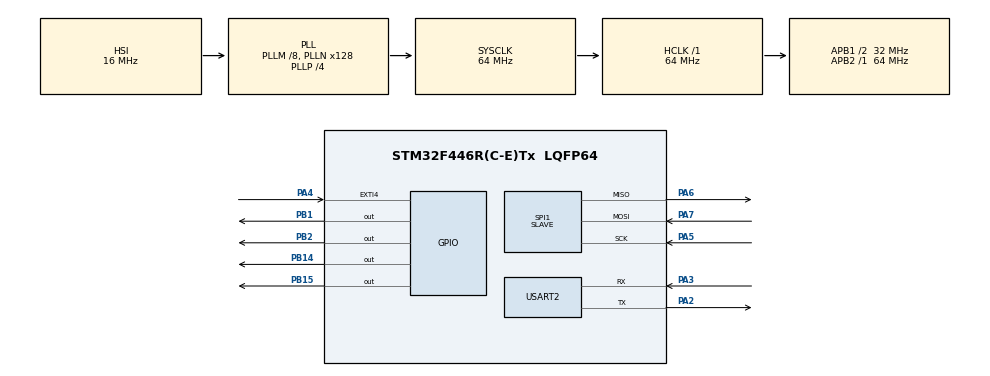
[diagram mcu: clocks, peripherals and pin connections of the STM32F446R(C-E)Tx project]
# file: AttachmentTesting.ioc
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Mcu.Family=STM32F4
Mcu.Name=STM32F446R(C-E)Tx
Mcu.Package=LQFP64
NVIC.EXTI4_IRQn=true\:0\:0\:false\:false\:true\:true\:true\:true
NVIC.PriorityGroup=NVIC_PRIORITYGROUP_4
NVIC.SPI1_IRQn=true\:0\:0\:false\:false\:true\:true\:true\:true
PA13.Mode=Serial_Wire
PA13.Signal=SYS_JTMS-SWDIO
PA14.Mode=Serial_Wire
PA14.Signal=SYS_JTCK-SWCLK
PA2.Mode=Asynchronous
PA2.Signal=USART2_TX
PA3.Mode=Asynchronous
PA3.Signal=USART2_RX
PA4.GPIO_ModeDefaultEXTI=GPIO_MODE_IT_FALLING
PA4.GPIO_PuPd=GPIO_PULLUP
PA4.Signal=GPXTI4
PA5.Mode=Full_Duplex_Slave
PA5.Signal=SPI1_SCK
PA6.Mode=Full_Duplex_Slave
PA6.Signal=SPI1_MISO
PA7.Mode=Full_Duplex_Slave
PA7.Signal=SPI1_MOSI
PB1.Signal=GPIO_Output
PB14.Signal=GPIO_Output
PB15.Signal=GPIO_Output
PB2.Signal=GPIO_Output
PC14-OSC32_IN.Mode=LSE-External-Oscillator
PC14-OSC32_IN.Signal=RCC_OSC32_IN
PC15-OSC32_OUT.Mode=LSE-External-Oscillator
PC15-OSC32_OUT.Signal=RCC_OSC32_OUT
PH0-OSC_IN.Mode=HSE-External-Oscillator
PH0-OSC_IN.Signal=RCC_OSC_IN
PH1-OSC_OUT.Mode=HSE-External-Oscillator
PH1-OSC_OUT.Signal=RCC_OSC_OUT
ProjectManager.HeapSize=0x200
ProjectManager.StackSize=0x400
ProjectManager.TargetToolchain=Makefile
RCC.AHBFreq_Value=64000000
RCC.APB1CLKDivider=RCC_HCLK_DIV2
RCC.APB1Freq_Value=32000000
RCC.APB1TimFreq_Value=64000000
RCC.APB2Freq_Value=64000000
RCC.APB2TimFreq_Value=64000000
RCC.CortexFreq_Value=64000000
RCC.HCLKFreq_Value=64000000
RCC.HSE_VALUE=8000000
RCC.PLLM=8
RCC.PLLN=128
RCC.PLLP=RCC_PLLP_DIV4
RCC.SYSCLKFreq_VALUE=64000000
RCC.SYSCLKSource=RCC_SYSCLKSOURCE_PLLCLK
RCC.USBFreq_Value=128000000
RCC.VCOOutputFreq_Value=256000000
SPI1.CLKPhase=SPI_PHASE_2EDGE
SPI1.CLKPolarity=SPI_POLARITY_HIGH
SPI1.Direction=SPI_DIRECTION_2LINES
SPI1.FirstBit=SPI_FIRSTBIT_LSB
SPI1.Mode=SPI_MODE_SLAVE
SPI1.VirtualType=VM_SLAVE
USART2.VirtualMode=VM_ASYNC
board=custom

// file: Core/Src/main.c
/* USER CODE BEGIN Header */
/**
 ******************************************************************************
 * @file           : main.c
 * @brief          : Main program body
 ******************************************************************************
 * @attention
 *
 * Copyright (c) 2023 STMicroelectronics.
 * All rights reserved.
 *
 * This software is licensed under terms that can be found in the LICENSE file
 * in the root directory of this software component.
 * If no LICENSE file comes with this software, it is provided AS-IS.
 *
 ******************************************************************************
 */
/* USER CODE END Header */
#include "main.h"

/* USER CODE BEGIN PD */
#define X_BIT 0b00000001
#define CIRCLE_BIT 0b00000010
#define TRIANGLE_BIT 0b00000100
#define SQUARE_BIT 0b00001000

#define X_BIT_I 0b11111110
#define CIRCLE_BIT_I 0b11111101
#define TRIANGLE_BIT_I 0b11111011
#define SQUARE_BIT_I 0b11110111
/* USER CODE END PD */

SPI_HandleTypeDef hspi1;

UART_HandleTypeDef huart2;

void SystemClock_Config(void);
static void MX_GPIO_Init(void);
static void MX_SPI1_Init(void);
static void MX_USART2_UART_Init(void);
/* USER CODE BEGIN PFP */
// void HAL_GPIO_EXTI_Callback(uint16_t GPIO_Pin);
/* USER CODE END PFP */

/* USER CODE BEGIN 0 */
uint8_t receivedData = 0;
uint8_t temp = 0;
char *messageX = "X Pressed\r\n";
char *messageC = "Circle Pressed\r\n";
char *messageT = "Triangle Pushed\r\n";
char *messageS = "Square Pushed\r\n";
/* USER CODE END 0 */

int main(void)
{

  /* MCU Configuration--------------------------------------------------------*/

  /* Reset of all peripherals, Initializes the Flash interface and the Systick. */
  HAL_Init();

  /* Configure the system clock */
  SystemClock_Config();

  /* Initialize all configured peripherals */
  MX_GPIO_Init();
  MX_SPI1_Init();
  MX_USART2_UART_Init();

  /* Infinite loop */
  while (1)
  {

  }
}

void SystemClock_Config(void)
{
  RCC_OscInitTypeDef RCC_OscInitStruct = {0};
  RCC_ClkInitTypeDef RCC_ClkInitStruct = {0};

  /** Configure the main internal regulator output voltage
   */
  __HAL_RCC_PWR_CLK_ENABLE();
  __HAL_PWR_VOLTAGESCALING_CONFIG(PWR_REGULATOR_VOLTAGE_SCALE3);

  /** Initializes the RCC Oscillators according to the specified parameters
   * in the RCC_OscInitTypeDef structure.
   */
  RCC_OscInitStruct.OscillatorType = RCC_OSCILLATORTYPE_HSI;
  RCC_OscInitStruct.HSIState = RCC_HSI_ON;
  RCC_OscInitStruct.HSICalibrationValue = RCC_HSICALIBRATION_DEFAULT;
  RCC_OscInitStruct.PLL.PLLState = RCC_PLL_ON;
  RCC_OscInitStruct.PLL.PLLSource = RCC_PLLSOURCE_HSI;
  RCC_OscInitStruct.PLL.PLLM = 8;
  RCC_OscInitStruct.PLL.PLLN = 128;
  RCC_OscInitStruct.PLL.PLLP = RCC_PLLP_DIV4;
  RCC_OscInitStruct.PLL.PLLQ = 2;
  RCC_OscInitStruct.PLL.PLLR = 2;
  if (HAL_RCC_OscConfig(&RCC_OscInitStruct) != HAL_OK)
  {
    Error_Handler();
  }

  /** Initializes the CPU, AHB and APB buses clocks
   */
  RCC_ClkInitStruct.ClockType = RCC_CLOCKTYPE_HCLK | RCC_CLOCKTYPE_SYSCLK | RCC_CLOCKTYPE_PCLK1 | RCC_CLOCKTYPE_PCLK2;
  RCC_ClkInitStruct.SYSCLKSource = RCC_SYSCLKSOURCE_PLLCLK;
  RCC_ClkInitStruct.AHBCLKDivider = RCC_SYSCLK_DIV1;
  RCC_ClkInitStruct.APB1CLKDivider = RCC_HCLK_DIV2;
  RCC_ClkInitStruct.APB2CLKDivider = RCC_HCLK_DIV1;

  if (HAL_RCC_ClockConfig(&RCC_ClkInitStruct, FLASH_LATENCY_2) != HAL_OK)
  {
    Error_Handler();
  }
}

static void MX_SPI1_Init(void)
{

  /* SPI1 parameter configuration*/
  hspi1.Instance = SPI1;
  hspi1.Init.Mode = SPI_MODE_SLAVE;
  hspi1.Init.Direction = SPI_DIRECTION_2LINES;
  hspi1.Init.DataSize = SPI_DATASIZE_8BIT;
  hspi1.Init.CLKPolarity = SPI_POLARITY_HIGH;
  hspi1.Init.CLKPhase = SPI_PHASE_2EDGE;
  hspi1.Init.NSS = SPI_NSS_SOFT;
  hspi1.Init.FirstBit = SPI_FIRSTBIT_LSB;
  hspi1.Init.TIMode = SPI_TIMODE_DISABLE;
  hspi1.Init.CRCCalculation = SPI_CRCCALCULATION_DISABLE;
  hspi1.Init.CRCPolynomial = 10;
  if (HAL_SPI_Init(&hspi1) != HAL_OK)
  {
    Error_Handler();
  }
}

static void MX_USART2_UART_Init(void)
{

  huart2.Instance = USART2;
  huart2.Init.BaudRate = 115200;
  huart2.Init.WordLength = UART_WORDLENGTH_8B;
  huart2.Init.StopBits = UART_STOPBITS_1;
  huart2.Init.Parity = UART_PARITY_NONE;
  huart2.Init.Mode = UART_MODE_TX_RX;
  huart2.Init.HwFlowCtl = UART_HWCONTROL_NONE;
  huart2.Init.OverSampling = UART_OVERSAMPLING_16;
  if (HAL_UART_Init(&huart2) != HAL_OK)
  {
    Error_Handler();
  }
}

static void MX_GPIO_Init(void)
{
  GPIO_InitTypeDef GPIO_InitStruct = {0};

  /* GPIO Ports Clock Enable */
  __HAL_RCC_GPIOC_CLK_ENABLE();
  __HAL_RCC_GPIOH_CLK_ENABLE();
  __HAL_RCC_GPIOA_CLK_ENABLE();
  __HAL_RCC_GPIOB_CLK_ENABLE();

  /*Configure GPIO pin Output Level */
  HAL_GPIO_WritePin(GPIOB, GPIO_PIN_1 | GPIO_PIN_2 | GPIO_PIN_14 | GPIO_PIN_15, GPIO_PIN_RESET);

  /*Configure GPIO pin : PA4 */
  GPIO_InitStruct.Pin = GPIO_PIN_4;
  GPIO_InitStruct.Mode = GPIO_MODE_IT_FALLING;
  GPIO_InitStruct.Pull = GPIO_PULLUP;
  HAL_GPIO_Init(GPIOA, &GPIO_InitStruct);

  /*Configure GPIO pins : PB1 PB2 PB14 PB15 */
  GPIO_InitStruct.Pin = GPIO_PIN_1 | GPIO_PIN_2 | GPIO_PIN_14 | GPIO_PIN_15;
  GPIO_InitStruct.Mode = GPIO_MODE_OUTPUT_PP;
  GPIO_InitStruct.Pull = GPIO_NOPULL;
  GPIO_InitStruct.Speed = GPIO_SPEED_FREQ_LOW;
  HAL_GPIO_Init(GPIOB, &GPIO_InitStruct);

  /* EXTI interrupt init*/
  HAL_NVIC_SetPriority(EXTI4_IRQn, 0, 0);
  HAL_NVIC_EnableIRQ(EXTI4_IRQn);

}

/* USER CODE BEGIN 4 */

//----------SPI INTERRUPT----------//
void HAL_GPIO_EXTI_Callback(uint16_t GPIO_Pin)
{
  HAL_SPI_Receive(&hspi1, &receivedData, 1, 10);

  temp = receivedData | X_BIT;
  if (temp == receivedData)
  {
    HAL_GPIO_WritePin(GPIOB, GPIO_PIN_2, GPIO_PIN_SET);
  }
  else
  {
    HAL_GPIO_WritePin(GPIOB, GPIO_PIN_2, GPIO_PIN_RESET);
  }

  temp = receivedData | CIRCLE_BIT;
  if (temp == receivedData)
  {
    HAL_GPIO_WritePin(GPIOB, GPIO_PIN_1, GPIO_PIN_SET);
  }
  else
  {
    HAL_GPIO_WritePin(GPIOB, GPIO_PIN_1, GPIO_PIN_RESET);
  }

  temp = receivedData | TRIANGLE_BIT;
  if (temp == receivedData)
  {
    HAL_GPIO_WritePin(GPIOB, GPIO_PIN_14, GPIO_PIN_SET);
  }
  else
  {
    HAL_GPIO_WritePin(GPIOB, GPIO_PIN_14, GPIO_PIN_RESET);
  }

  temp = receivedData | SQUARE_BIT;
  if (temp == receivedData)
  {
    HAL_GPIO_WritePin(GPIOB, GPIO_PIN_15, GPIO_PIN_SET);
  }
  else
  {
    HAL_GPIO_WritePin(GPIOB, GPIO_PIN_15, GPIO_PIN_RESET);
  }
}

/* USER CODE END 4 */

void Error_Handler(void)
{
  __disable_irq();
  while (1)
  {
  }
}
